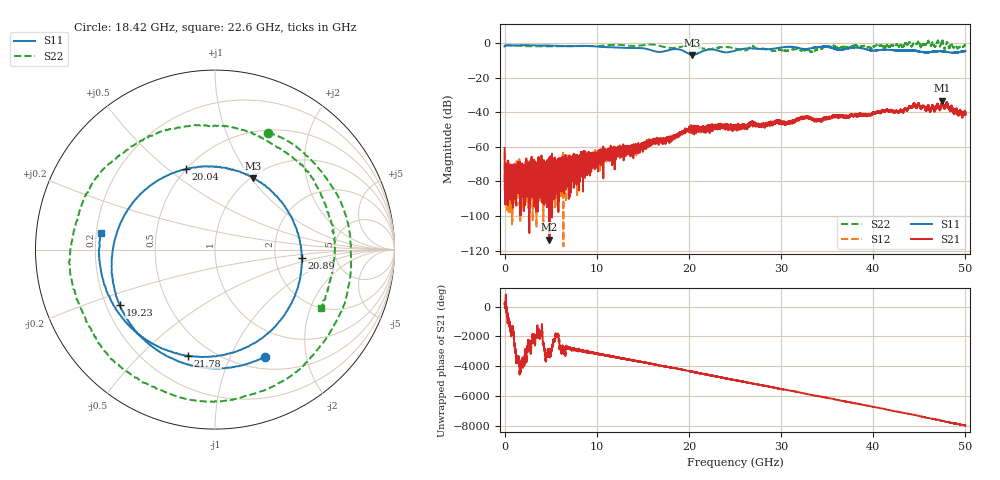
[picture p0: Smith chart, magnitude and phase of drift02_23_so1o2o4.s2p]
!Created with skrf (http://scikit-rf.org).
# Hz S RI R 50.0
!freq ReS11 ImS11 ReS21 ImS21 ReS12 ImS12 ReS22 ImS22
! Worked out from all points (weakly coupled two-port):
!   10001 points, 300 kHz to 50 GHz, reference 50 ohm
!   highest |S21| = -33.45 dB at 47.5 GHz (marker M1); lowest = -113.5 dB at 4.865 GHz (marker M2)
!   lowest |S11| = -6.9 dB at 20.38 GHz (marker M3), VSWR 2.64, Z = 51.4 + j51.1 ohm
!   |S11| at or under -10 dB: nowhere
!   |S22| runs from -5.4 to 1.4 dB; largest |S21 - S12| = 0.003
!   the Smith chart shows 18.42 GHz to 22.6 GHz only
!   S11 on the Smith chart (normalised r, x): 18.42 GHz: 0.65, -1.36; 19.23 GHz: 0.26, -0.25; 20.04 GHz: 0.50, +0.58; 20.89 GHz: 2.84, -0.35; 21.78 GHz: 0.38, -0.71; 22.6 GHz: 0.22, +0.07
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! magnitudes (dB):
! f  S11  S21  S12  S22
! 300 kHz  -2.1  -60.7  -63.4  -1.3
! 295.3 MHz  -1.4  -75.2  -91.0  -1.4
! 3.405 GHz  -1.5  -75.1  -70.9  -2.0
! 3.845 GHz  -1.5  -74.3  -73.9  -2.0
! 4.345 GHz  -1.6  -74.6  -82.0  -2.0
! 4.865 GHz  -1.6  -113.5  -72.0  -2.0
! 8.335 GHz  -1.7  -70.4  -68.2  -1.9
! 16.67 GHz  -5.2  -56.6  -55.8  -1.5
! 18.42 GHz  -3.6  -54.7  -54.4  -2.9
! 19.23 GHz  -4.2  -51.8  -52.3  -2.2
! 20.04 GHz  -6.4  -50.6  -49.1  -1.5
! 20.38 GHz  -6.9  -50.0  -49.6  -1.7
! 20.89 GHz  -6.3  -49.0  -50.3  -2.1
! 21.78 GHz  -4.3  -51.3  -49.7  -3.5
! 22.6 GHz  -3.8  -49.6  -50.4  -3.4
! 25 GHz  -4.5  -48.5  -49.3  -3.2
! 26.9 GHz  -3.2  -46.5  -45.3  -1.7
! 33.34 GHz  -3.0  -43.7  -43.5  -5.2
! 34.89 GHz  -2.2  -43.6  -43.3  -2.2
! 41.67 GHz  -4.0  -39.3  -39.5  -2.1
! 47.5 GHz  -4.9  -33.5  -34.1  1.2
! 50 GHz  -4.7  -41.3  -40.3  -1.5
